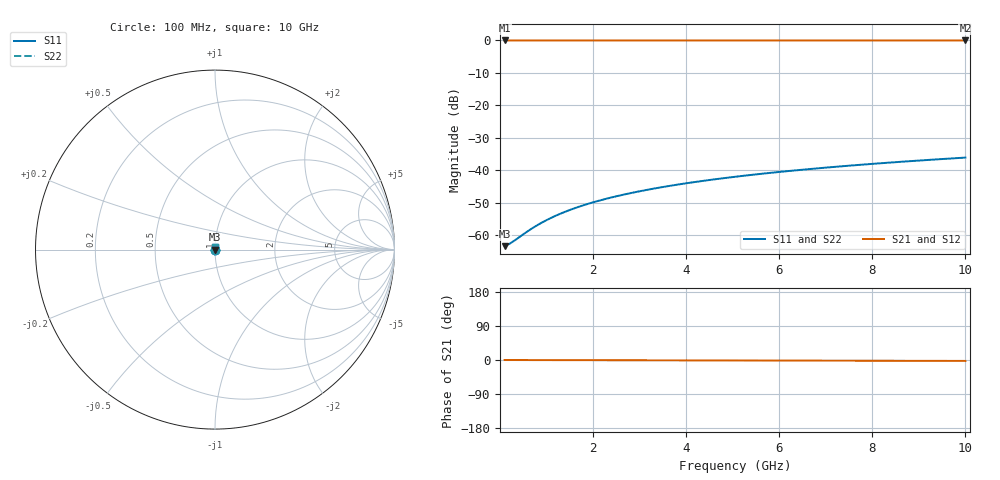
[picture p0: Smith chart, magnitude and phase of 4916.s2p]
# Hz S RI R 50.00
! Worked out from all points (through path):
!   100 points, 100 MHz to 10 GHz, reference 50 ohm
!   highest |S21| = -0.01 dB at 100 MHz (marker M1); lowest = 0.0 dB at 10 GHz (marker M2)
!   lowest |S11| = -63.4 dB at 100 MHz (marker M3), VSWR 1.00, Z = 50.1 + j0.0157 ohm
!   |S11| at or under -10 dB: start of sweep to end of sweep
!   |S22| runs from -63.4 to -36.1 dB; largest |S21 - S12| = 0
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1e8  0.00066 0.000156  0.9993 -0.000429  0.9993 -0.000429  0.00066 0.000156
2e8  0.000665 0.000313  0.9993 -0.000858  0.9993 -0.000858  0.000665 0.000313
3e8  0.000668 0.000469  0.9993 -0.00129  0.9993 -0.00129  0.000668 0.000469
5e8  0.000674 0.000782  0.9993 -0.00214  0.9993 -0.00214  0.000674 0.000782
7e8  0.000679 0.00109  0.9993 -0.003  0.9993 -0.003  0.000679 0.00109
8e8  0.000681 0.00125  0.9993 -0.00343  0.9993 -0.00343  0.000681 0.00125
1e9  0.000687 0.00156  0.9993 -0.00429  0.9993 -0.00429  0.000687 0.00156
1.2e9  0.000692 0.00188  0.9993 -0.00515  0.9993 -0.00515  0.000692 0.00188
1.4e9  0.000698 0.00219  0.9993 -0.006  0.9993 -0.006  0.000698 0.00219
1.6e9  0.000703 0.0025  0.9993 -0.00686  0.9993 -0.00686  0.000703 0.0025
1.8e9  0.00071 0.00281  0.9993 -0.00772  0.9993 -0.00772  0.00071 0.00281
2.1e9  0.00072 0.00328  0.9993 -0.00901  0.9993 -0.00901  0.00072 0.00328
2.5e9  0.000735 0.00391  0.9992 -0.0107  0.9992 -0.0107  0.000735 0.00391
2.9e9  0.000753 0.00453  0.9992 -0.0124  0.9992 -0.0124  0.000753 0.00453
3.4e9  0.000777 0.00532  0.9992 -0.0146  0.9992 -0.0146  0.000777 0.00532
4.2e9  0.000823 0.00657  0.9991 -0.018  0.9991 -0.018  0.000823 0.00657
5.1e9  0.000884 0.00797  0.999 -0.0219  0.999 -0.0219  0.000884 0.00797
5.9e9  0.000947 0.00922  0.9989 -0.0253  0.9989 -0.0253  0.000947 0.00922
6.7e9  0.00102 0.0105  0.9988 -0.0288  0.9988 -0.0288  0.00102 0.0105
7.5e9  0.0011 0.0117  0.9987 -0.0322  0.9987 -0.0322  0.0011 0.0117
8.4e9  0.0012 0.0131  0.9985 -0.0361  0.9985 -0.0361  0.0012 0.0131
1e10  0.00141 0.0156  0.9982 -0.043  0.9982 -0.043  0.00141 0.0156
